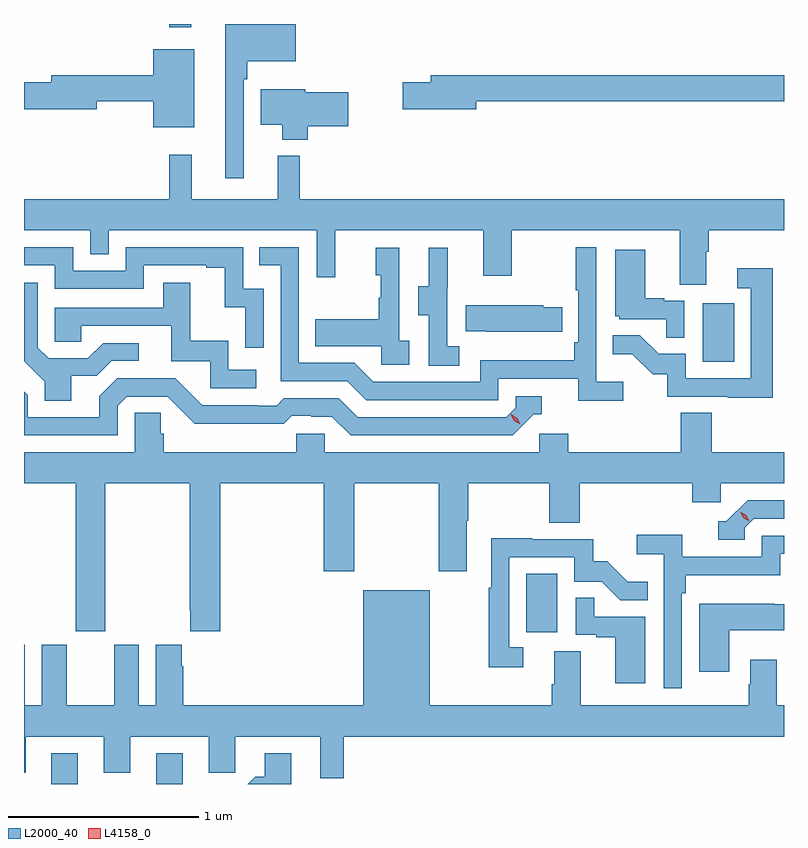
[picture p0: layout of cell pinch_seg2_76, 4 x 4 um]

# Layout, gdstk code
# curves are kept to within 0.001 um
import gdstk
lib = gdstk.Library(unit=1e-6, precision=1e-09)
def R(c, l, rs):  # rectangles x0, y0, x1, y1
    for r in rs: c.add(gdstk.rectangle(r[:2], r[2:], *l))
def P(c, l, *ps):  # polygons
    for p in ps: c.add(gdstk.Polygon(p, *l))
L2000_40 = (2000, 40)
L4158_0 = (4158, 0)

pinch_seg2_76 = lib.new_cell('pinch_seg2_76')
R(pinch_seg2_76, L2000_40, [(1066.583,654.046,1066.723,654.208), (1067.135,654.046,1067.275,654.208), (1069.082,654.846,1069.246,655.153), (1070.012,656.268,1070.176,656.575), (1067.203,658.029,1067.32,658.046)])
P(pinch_seg2_76, L2000_40, [(1067.595,657.755),(1067.615,657.755),(1067.615,657.851),(1067.868,657.851),(1067.868,658.046),(1067.498,658.046),(1067.498,657.234),(1067.595,657.234)],
  [(1067.335,657.913),(1067.12,657.913),(1067.12,657.776),(1066.583,657.776),(1066.583,657.74),(1066.439,657.74),(1066.439,657.598),(1066.822,657.598),(1066.822,657.64),(1067.12,657.64),(1067.12,657.503),(1067.335,657.503)],
  [(1068.82,657.64),(1070.439,657.64),(1070.439,657.776),(1068.581,657.776),(1068.581,657.74),(1068.432,657.74),(1068.432,657.598),(1068.82,657.598)],
  [(1067.933,657.508),(1068.145,657.508),(1068.145,657.686),(1067.92,657.686),(1067.92,657.703),(1067.684,657.703),(1067.684,657.515),(1067.798,657.515),(1067.798,657.437),(1067.933,657.437)],
  [(1070.029,656.848),(1070.042,656.848),(1070.042,656.96),(1070.439,656.96),(1070.439,657.124),(1067.891,657.124),(1067.891,657.352),(1067.774,657.352),(1067.774,657.124),(1067.321,657.124),(1067.321,657.358),(1067.203,657.358),(1067.203,657.124),(1066.439,657.124),(1066.439,656.96),(1066.788,656.96),(1066.788,656.833),(1066.884,656.833),(1066.884,656.96),(1067.979,656.96),(1067.979,656.712),(1068.077,656.712),(1068.077,656.96),(1068.857,656.96),(1068.857,656.721),(1069.005,656.721),(1069.005,656.96),(1069.889,656.96),(1069.889,656.674),(1070.029,656.674)],
  [(1069.594,656.164),(1069.452,656.164),(1069.452,656.872),(1069.344,656.872),(1069.344,656.644),(1069.356,656.644),(1069.356,656.371),(1069.336,656.371),(1069.336,656.275),(1068.84,656.275),(1068.84,656.163),(1068.276,656.163),(1068.177,656.262),(1067.886,656.262),(1067.886,656.871),(1067.677,656.871),(1067.677,656.775),(1067.79,656.775),(1067.79,656.166),(1068.14,656.166),(1068.239,656.067),(1068.936,656.067),(1068.936,656.178),(1069.355,656.178),(1069.355,656.062),(1069.594,656.062)],
  [(1067.7,656.652),(1067.592,656.652),(1067.592,656.871),(1066.974,656.871),(1066.974,656.748),(1066.698,656.748),(1066.698,656.871),(1066.439,656.871),(1066.439,656.775),(1066.602,656.775),(1066.602,656.652),(1067.07,656.652),(1067.07,656.775),(1067.399,656.775),(1067.399,656.763),(1067.495,656.763),(1067.495,656.555),(1067.604,656.555),(1067.604,656.343),(1067.7,656.343)],
  [(1068.73,656.351),(1068.666,656.351),(1068.666,656.655),(1068.668,656.655),(1068.668,656.869),(1068.569,656.869),(1068.569,656.667),(1068.515,656.667),(1068.515,656.512),(1068.57,656.512),(1068.57,656.248),(1068.73,656.248)],
  [(1068.466,656.378),(1068.414,656.378),(1068.414,656.869),(1068.29,656.869),(1068.29,656.724),(1068.316,656.724),(1068.316,656.606),(1068.306,656.606),(1068.306,656.491),(1067.971,656.491),(1067.971,656.351),(1068.318,656.351),(1068.318,656.253),(1068.466,656.253)],
  [(1069.914,656.589),(1069.808,656.589),(1069.808,656.602),(1069.708,656.602),(1069.708,656.857),(1069.55,656.857),(1069.55,656.508),(1069.572,656.508),(1069.572,656.493),(1069.819,656.493),(1069.819,656.395),(1069.914,656.395)],
  [(1070.381,656.761),(1070.193,656.761),(1070.193,656.655),(1070.265,656.655),(1070.265,656.181),(1069.923,656.181),(1069.923,656.31),(1069.779,656.31),(1069.681,656.408),(1069.537,656.408),(1069.537,656.309),(1069.641,656.309),(1069.748,656.202),(1069.825,656.202),(1069.825,656.085),(1070.143,656.085),(1070.143,656.08),(1070.381,656.08)],
  [(1067.662,656.226),(1067.514,656.226),(1067.514,656.38),(1067.315,656.38),(1067.315,656.683),(1067.171,656.683),(1067.171,656.553),(1066.602,656.553),(1066.602,656.373),(1066.739,656.373),(1066.739,656.457),(1067.213,656.457),(1067.213,656.271),(1067.418,656.271),(1067.418,656.13),(1067.662,656.13)],
  [(1066.687,656.194),(1066.822,656.194),(1066.902,656.274),(1067.044,656.274),(1067.044,656.367),(1066.856,656.367),(1066.775,656.286),(1066.569,656.286),(1066.512,656.343),(1066.512,656.683),(1066.439,656.683),(1066.439,656.271),(1066.547,656.164),(1066.547,656.062),(1066.687,656.062)],
  [(1069.271,656.556),(1069.173,656.556),(1069.173,656.566),(1068.763,656.566),(1068.763,656.429),(1068.871,656.429),(1068.871,656.426),(1069.271,656.426)],
  [(1066.932,656.037),(1066.98,656.085),(1067.196,656.085),(1067.338,655.943),(1067.574,655.943),(1067.574,655.941),(1067.807,655.941),(1067.849,655.983),(1067.952,655.983),(1067.952,655.98),(1068.059,655.98),(1068.158,655.881),(1069.011,655.881),(1069.122,655.992),(1069.165,655.992),(1069.165,656.088),(1069.026,656.088),(1069.026,656.025),(1068.978,655.977),(1068.195,655.977),(1068.096,656.076),(1067.807,656.076),(1067.768,656.037),(1067.669,656.037),(1067.669,656.04),(1067.376,656.04),(1067.235,656.181),(1066.929,656.181),(1066.835,656.087),(1066.835,655.977),(1066.458,655.977),(1066.458,656.091),(1066.439,656.11),(1066.439,655.881),(1066.932,655.881)],
  [(1069.895,656),(1069.895,655.792),(1069.304,655.792),(1069.304,655.89),(1069.152,655.89),(1069.152,655.792),(1068.021,655.792),(1068.021,655.89),(1067.871,655.89),(1067.871,655.792),(1067.174,655.792),(1067.174,655.89),(1067.159,655.89),(1067.159,656),(1067.022,656),(1067.022,655.792),(1066.439,655.792),(1066.439,655.628),(1066.711,655.628),(1066.711,654.849),(1066.866,654.849),(1066.866,655.628),(1067.311,655.628),(1067.311,654.961),(1067.315,654.961),(1067.315,654.849),(1067.471,654.849),(1067.471,655.628),(1068.017,655.628),(1068.017,655.167),(1068.177,655.167),(1068.177,655.628),(1068.622,655.628),(1068.622,655.167),(1068.769,655.167),(1068.769,655.432),(1068.777,655.432),(1068.777,655.628),(1069.204,655.628),(1069.204,655.42),(1069.364,655.42),(1069.364,655.628),(1069.955,655.628),(1069.955,655.53),(1070.106,655.53),(1070.106,655.628),(1070.439,655.628),(1070.439,655.792),(1070.06,655.792),(1070.06,656)],
  [(1070.232,655.395),(1070.28,655.443),(1070.439,655.443),(1070.439,655.539),(1070.247,655.539),(1070.136,655.428),(1070.093,655.428),(1070.093,655.332),(1070.232,655.332)],
  [(1069.902,655.049),(1069.922,655.049),(1069.922,655.145),(1070.418,655.145),(1070.418,655.257),(1070.439,655.257),(1070.439,655.353),(1070.322,655.353),(1070.322,655.242),(1069.904,655.242),(1069.904,655.358),(1069.665,655.358),(1069.665,655.256),(1069.806,655.256),(1069.806,654.549),(1069.902,654.549)],
  [(1069.066,654.765),(1068.993,654.765),(1068.993,655.239),(1069.335,655.239),(1069.335,655.11),(1069.479,655.11),(1069.577,655.012),(1069.721,655.012),(1069.721,655.111),(1069.617,655.111),(1069.51,655.218),(1069.434,655.218),(1069.434,655.335),(1069.115,655.335),(1069.115,655.34),(1068.897,655.34),(1068.897,655.079),(1068.885,655.079),(1068.885,654.66),(1069.066,654.66)],
  [(1070.439,654.46),(1070.401,654.46),(1070.401,654.7),(1070.261,654.7),(1070.261,654.572),(1070.254,654.572),(1070.254,654.46),(1069.369,654.46),(1069.369,654.746),(1069.229,654.746),(1069.229,654.572),(1069.217,654.572),(1069.217,654.46),(1068.574,654.46),(1068.574,655.066),(1068.224,655.066),(1068.224,654.46),(1067.276,654.46),(1067.276,654.665),(1067.269,654.665),(1067.269,654.778),(1067.132,654.778),(1067.132,654.46),(1067.044,654.46),(1067.044,654.778),(1066.913,654.778),(1066.913,654.46),(1066.663,654.46),(1066.663,654.778),(1066.532,654.778),(1066.532,654.46),(1066.444,654.46),(1066.444,654.778),(1066.439,654.778),(1066.439,654.106),(1066.447,654.106),(1066.447,654.296),(1066.859,654.296),(1066.859,654.106),(1066.999,654.106),(1066.999,654.296),(1067.411,654.296),(1067.411,654.106),(1067.55,654.106),(1067.55,654.296),(1067.999,654.296),(1067.999,654.075),(1068.121,654.075),(1068.121,654.296),(1070.439,654.296)],
  [(1069.708,654.927),(1069.439,654.927),(1069.439,655.025),(1069.344,655.025),(1069.344,654.831),(1069.451,654.831),(1069.451,654.819),(1069.55,654.819),(1069.55,654.576),(1069.708,654.576)],
  [(1070.152,654.854),(1070.439,654.854),(1070.439,654.991),(1070.387,654.991),(1070.387,654.994),(1069.994,654.994),(1069.994,654.636),(1070.152,654.636)],
  [(1067.845,654.208),(1067.705,654.208),(1067.705,654.085),(1067.656,654.085),(1067.617,654.046),(1067.845,654.046)])
P(pinch_seg2_76, L4158_0, [(1070.255,655.428),(1070.224,655.447),(1070.208,655.48),(1070.208,655.48),(1070.208,655.48),(1070.239,655.461),(1070.255,655.429),(1070.255,655.428)],
  [(1069.05,655.94),(1069.019,655.959),(1069.002,655.992),(1069.002,655.992),(1069.003,655.992),(1069.034,655.972),(1069.05,655.94),(1069.05,655.94)])

lib.write_gds('pinch_seg2_76.gds')
